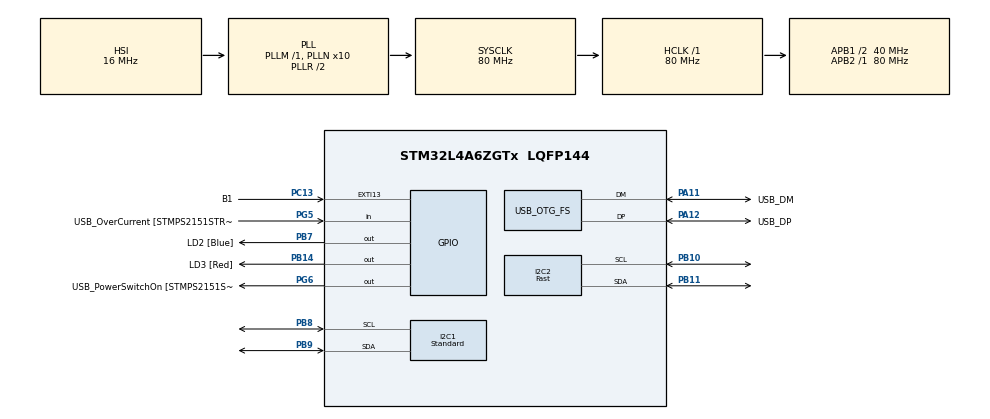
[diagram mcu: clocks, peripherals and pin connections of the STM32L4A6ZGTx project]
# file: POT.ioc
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ADC1.Channel-0\#ChannelRegularConversion=ADC_CHANNEL_TEMPSENSOR
ADC1.NbrOfConversionFlag=1
ADC1.OffsetNumber-0\#ChannelRegularConversion=ADC_OFFSET_NONE
ADC1.Rank-0\#ChannelRegularConversion=1
ADC1.SamplingTime-0\#ChannelRegularConversion=ADC_SAMPLETIME_2CYCLES_5
ADC1.master=1
Dma.I2C1_TX.0.Direction=DMA_MEMORY_TO_PERIPH
Dma.I2C1_TX.0.Instance=DMA1_Channel6
Dma.I2C1_TX.0.MemDataAlignment=DMA_MDATAALIGN_BYTE
Dma.I2C1_TX.0.MemInc=DMA_MINC_ENABLE
Dma.I2C1_TX.0.Mode=DMA_NORMAL
Dma.I2C1_TX.0.PeriphDataAlignment=DMA_PDATAALIGN_BYTE
Dma.I2C1_TX.0.PeriphInc=DMA_PINC_DISABLE
Dma.I2C1_TX.0.Priority=DMA_PRIORITY_LOW
Dma.Request0=I2C1_TX
I2C1.CustomTiming=Enabled
I2C1.I2C_Speed_Mode=I2C_Standard
I2C1.Timing=0x00909BEB
I2C2.I2C_Speed_Mode=I2C_Fast
I2C2.Timing=0x00301347
Mcu.Family=STM32L4
Mcu.Name=STM32L4A6ZGTx
Mcu.Package=LQFP144
NVIC.DMA1_Channel6_IRQn=true\:0\:0\:false\:false\:true\:false\:true
NVIC.I2C1_EV_IRQn=true\:0\:0\:false\:false\:true\:true\:true
NVIC.OTG_FS_IRQn=true\:0\:0\:false\:false\:true\:false\:true
NVIC.PriorityGroup=NVIC_PRIORITYGROUP_4
NVIC.TIM2_IRQn=true\:15\:0\:false\:false\:true\:false\:true
NVIC.TimeBase=TIM2_IRQn
NVIC.TimeBaseIP=TIM2
PA10.GPIO_Label=USB_ID
PA10.Signal=USB_OTG_FS_ID
PA11.GPIO_Label=USB_DM
PA11.Mode=Device_Only
PA11.Signal=USB_OTG_FS_DM
PA12.GPIO_Label=USB_DP
PA12.Mode=Device_Only
PA12.Signal=USB_OTG_FS_DP
PA13\ (JTMS/SWDIO).GPIO_Label=TMS
PA13\ (JTMS/SWDIO).Mode=Trace_Asynchronous_SW
PA13\ (JTMS/SWDIO).Signal=SYS_JTMS-SWDIO
PA14\ (JTCK/SWCLK).GPIO_Label=TCK
PA14\ (JTCK/SWCLK).Mode=Trace_Asynchronous_SW
PA14\ (JTCK/SWCLK).Signal=SYS_JTCK-SWCLK
PA8.GPIO_Label=USB_SOF [TP1]
PA8.Signal=USB_OTG_FS_SOF
PA9.GPIO_Label=USB_VBUS
PA9.Signal=USB_OTG_FS_VBUS
PB10.GPIO_Pu=GPIO_PULLUP
PB10.Mode=I2C
PB10.Signal=I2C2_SCL
PB11.GPIO_Pu=GPIO_PULLUP
PB11.Mode=I2C
PB11.Signal=I2C2_SDA
PB14.GPIO_Label=LD3 [Red]
PB14.Signal=GPIO_Output
PB3\ (JTDO/TRACESWO).GPIO_Label=SWO
PB3\ (JTDO/TRACESWO).Mode=Trace_Asynchronous_SW
PB3\ (JTDO/TRACESWO).Signal=SYS_JTDO-SWO
PB7.GPIO_Label=LD2 [Blue]
PB7.Signal=GPIO_Output
PB8.GPIO_Pu=GPIO_NOPULL
PB8.Mode=I2C
PB8.Signal=I2C1_SCL
PB9.GPIO_Pu=GPIO_NOPULL
PB9.Mode=I2C
PB9.Signal=I2C1_SDA
PC13.GPIO_Label=B1
PC13.Signal=GPXTI13
PC14-OSC32_IN\ (PC14).Mode=LSE-External-Oscillator
PC14-OSC32_IN\ (PC14).Signal=RCC_OSC32_IN
PC15-OSC32_OUT\ (PC15).Mode=LSE-External-Oscillator
PC15-OSC32_OUT\ (PC15).Signal=RCC_OSC32_OUT
PG5.GPIO_Label=USB_OverCurrent [STMPS2151STR_FAULT]
PG5.Signal=GPIO_Input
PG6.GPIO_Label=USB_PowerSwitchOn [STMPS2151STR_EN]
PG6.Signal=GPIO_Output
PG7.GPIO_Label=STLK_RX [STM32F103CBT6_PA3]
PG7.Signal=LPUART1_TX
PG8.GPIO_Label=STLK_TX [STM32F103CBT6_PA2]
PG8.Signal=LPUART1_RX
PH0-OSC_IN\ (PH0).Mode=HSE-External-Oscillator
PH0-OSC_IN\ (PH0).Signal=RCC_OSC_IN
PH1-OSC_OUT\ (PH1).Mode=HSE-External-Oscillator
PH1-OSC_OUT\ (PH1).Signal=RCC_OSC_OUT
ProjectManager.HeapSize=0x200
ProjectManager.StackSize=0x400
ProjectManager.TargetToolchain=STM32CubeIDE
RCC.ADCFreq_Value=64000000
RCC.AHBFreq_Value=80000000
RCC.APB1CLKDivider=RCC_HCLK_DIV2
RCC.APB1Freq_Value=40000000
RCC.APB1TimFreq_Value=80000000
RCC.APB2Freq_Value=80000000
RCC.APB2TimFreq_Value=80000000
RCC.CK48CLockSelection=RCC_USBCLKSOURCE_HSI48
RCC.CortexFreq_Value=80000000
RCC.HCLKFreq_Value=80000000
RCC.HSE_VALUE=8000000
RCC.HSI48_VALUE=48000000
RCC.HSI_VALUE=16000000
RCC.MSI_VALUE=4000000
RCC.PLLN=10
RCC.PLLSourceVirtual=RCC_PLLSOURCE_HSI
RCC.RTCClockSelection=RCC_RTCCLKSOURCE_LSE
RCC.SYSCLKFreq_VALUE=80000000
RCC.SYSCLKSource=RCC_SYSCLKSOURCE_PLLCLK
RCC.USBFreq_Value=48000000
RCC.VCOOutputFreq_Value=160000000
RTC.Date=10
RTC.Hours=19
RTC.Minutes=5
RTC.Month=RTC_MONTH_FEBRUARY
RTC.WeekDay=RTC_WEEKDAY_THURSDAY
USB_DEVICE.CLASS_NAME_FS=CDC
USB_DEVICE.VirtualMode=Cdc
USB_DEVICE.VirtualModeFS=Cdc_FS
USB_OTG_FS.VirtualMode=Device_Only
VP_ADC1_TempSens_Input.Mode=IN-TempSens
VP_RTC_VS_RTC_Activate.Mode=RTC_Enabled
VP_RTC_VS_RTC_Calendar.Mode=RTC_Calendar
VP_SYS_VS_tim2.Mode=TIM2
VP_USB_DEVICE_VS_USB_DEVICE_CDC_FS.Mode=CDC_FS
board=NUCLEO-L4A6ZG

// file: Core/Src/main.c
/* USER CODE BEGIN Header */
/**
  ******************************************************************************
  * @file           : main.c
  * @brief          : Main program body
  ******************************************************************************
  * @attention
  *
  * <h2><center>&copy; Copyright (c) 2021 STMicroelectronics.
  * All rights reserved.</center></h2>
  *
  * This software component is licensed by ST under BSD 3-Clause license,
  * the "License"; You may not use this file except in compliance with the
  * License. You may obtain a copy of the License at:
  *                        opensource.org/licenses/BSD-3-Clause
  *
  ******************************************************************************
  */
/* USER CODE END Header */
#include "main.h"
#include "adc.h"
#include "dma.h"
#include "i2c.h"
#include "rtc.h"
#include "usb_device.h"
#include "gpio.h"

/* USER CODE BEGIN Includes */
#include "ssd1306.h"
#include "font_ascii_5x7.h"
#include "GFX.h"
/* USER CODE END Includes */

/* USER CODE BEGIN PV */
char time[10];
char date[10];

/* USER CODE END PV */

void SystemClock_Config(void);
/* USER CODE BEGIN PFP */
/*xTaskHandle bmp280_read_data;
xTaskHandle OLED_DISP;
xTaskHandle Transmit_Data_USB;*/
/* USER CODE END PFP */

/* USER CODE BEGIN 0 */
void get_time(void)
{
	 RTC_DateTypeDef gDate;
	 RTC_TimeTypeDef gTime;
	/* Get the RTC current Time */
	 HAL_RTC_GetTime(&hrtc, &gTime, RTC_FORMAT_BIN);
	/* Get the RTC current Date */
	 HAL_RTC_GetDate(&hrtc, &gDate, RTC_FORMAT_BIN);
	/* Display time Format: hh:mm:ss */

	 sprintf((char*)time,"%02d:%02d %02d.%02d.%2d",gTime.Hours, gTime.Minutes,gDate.Date, gDate.Month, gDate.Year);
	/* Display date Format: dd-mm-yy */

	 //sprintf((char*)date,"%02d.%02d.%2d",gDate.Date, gDate.Month, gDate.Year);
	  GFX_draw_string(0, 56, time, BLACK, WHITE, 1, 1);
	  //GFX_draw_string(0, 0, date, WHITE, BLACK, 1, 1);
}
void set_time (void)
{
  RTC_TimeTypeDef sTime;
  RTC_DateTypeDef sDate;
  sTime.Hours = 0x19; // set hours
  sTime.Minutes = 0x22; // set minutes
  sTime.Seconds = 0x30; // set seconds
  sTime.DayLightSaving = RTC_DAYLIGHTSAVING_NONE;
  sTime.StoreOperation = RTC_STOREOPERATION_RESET;
  if (HAL_RTC_SetTime(&hrtc, &sTime, RTC_FORMAT_BCD) != HAL_OK)
  {
    Error_Handler();
  }
  sDate.WeekDay = RTC_WEEKDAY_THURSDAY; //
  sDate.Month = RTC_MONTH_FEBRUARY; //
  sDate.Date = 0x10; // date
  sDate.Year = 0x22; // year
  if (HAL_RTC_SetDate(&hrtc, &sDate, RTC_FORMAT_BCD) != HAL_OK)
  {
    Error_Handler();
  }
  HAL_RTCEx_BKUPWrite(&hrtc, RTC_BKP_DR1, 0x32F2); // backup register
}

/* USER CODE END 0 */

int main(void)
{

  /* MCU Configuration--------------------------------------------------------*/

  /* Reset of all peripherals, Initializes the Flash interface and the Systick. */
  HAL_Init();

  /* Configure the system clock */
  SystemClock_Config();

  /* Initialize all configured peripherals */
  MX_GPIO_Init();
  MX_DMA_Init();
  MX_I2C1_Init();
  MX_ADC1_Init();
  MX_I2C2_Init();
  MX_USB_DEVICE_Init();
  MX_RTC_Init();
  /* USER CODE BEGIN 2 */

  /*GFX_draw_string(0, 56, (unsigned char *)"Osmy", WHITE, BLACK, 1, 1);
  GFX_draw_string(0, 48, (unsigned char *)"Siodmy", WHITE, BLACK, 1, 1);
  GFX_draw_string(0, 40, (unsigned char *)"Szosty", WHITE, BLACK, 1, 1);
  GFX_draw_string(0, 32, (unsigned char *)"Piąty", WHITE, BLACK, 1, 1);
  GFX_draw_string(0, 24, (unsigned char *)"Czwarty", WHITE, BLACK, 1, 1);
  GFX_draw_string(0, 16, (unsigned char *)"Trzeci", WHITE, BLACK, 1, 1);
  GFX_draw_string(0, 8, (unsigned char *)"Drugi", WHITE, BLACK, 1, 1);
  GFX_draw_string(0, 0, (unsigned char *)"Pierszy", WHITE, BLACK, 1, 1);*/
  /*SSD1306_init();
  SSD1306_display_repaint();
  BMP280_init();
  set_time();*/
  set_time();
  SSD1306_init();
  SSD1306_display_repaint();
  BMP280_init();
  /* USER CODE END 2 */

  /* Infinite loop */
  /* USER CODE BEGIN WHILE */
  while (1)
  {
	  get_time();
	  BMP280_read();
	  SSD1306_display_repaint();
	  HAL_Delay(1000);
    /* USER CODE END WHILE */

  }
}

void SystemClock_Config(void)
{
  RCC_OscInitTypeDef RCC_OscInitStruct = {0};
  RCC_ClkInitTypeDef RCC_ClkInitStruct = {0};

  /** Configure the main internal regulator output voltage
  */
  if (HAL_PWREx_ControlVoltageScaling(PWR_REGULATOR_VOLTAGE_SCALE1) != HAL_OK)
  {
    Error_Handler();
  }
  /** Configure LSE Drive Capability
  */
  HAL_PWR_EnableBkUpAccess();
  __HAL_RCC_LSEDRIVE_CONFIG(RCC_LSEDRIVE_LOW);
  /** Initializes the RCC Oscillators according to the specified parameters
  * in the RCC_OscInitTypeDef structure.
  */
  RCC_OscInitStruct.OscillatorType = RCC_OSCILLATORTYPE_HSI48|RCC_OSCILLATORTYPE_HSI
                              |RCC_OSCILLATORTYPE_LSE;
  RCC_OscInitStruct.LSEState = RCC_LSE_ON;
  RCC_OscInitStruct.HSIState = RCC_HSI_ON;
  RCC_OscInitStruct.HSI48State = RCC_HSI48_ON;
  RCC_OscInitStruct.HSICalibrationValue = RCC_HSICALIBRATION_DEFAULT;
  RCC_OscInitStruct.PLL.PLLState = RCC_PLL_ON;
  RCC_OscInitStruct.PLL.PLLSource = RCC_PLLSOURCE_HSI;
  RCC_OscInitStruct.PLL.PLLM = 1;
  RCC_OscInitStruct.PLL.PLLN = 10;
  RCC_OscInitStruct.PLL.PLLP = RCC_PLLP_DIV2;
  RCC_OscInitStruct.PLL.PLLQ = RCC_PLLQ_DIV2;
  RCC_OscInitStruct.PLL.PLLR = RCC_PLLR_DIV2;
  if (HAL_RCC_OscConfig(&RCC_OscInitStruct) != HAL_OK)
  {
    Error_Handler();
  }
  /** Initializes the CPU, AHB and APB buses clocks
  */
  RCC_ClkInitStruct.ClockType = RCC_CLOCKTYPE_HCLK|RCC_CLOCKTYPE_SYSCLK
                              |RCC_CLOCKTYPE_PCLK1|RCC_CLOCKTYPE_PCLK2;
  RCC_ClkInitStruct.SYSCLKSource = RCC_SYSCLKSOURCE_PLLCLK;
  RCC_ClkInitStruct.AHBCLKDivider = RCC_SYSCLK_DIV1;
  RCC_ClkInitStruct.APB1CLKDivider = RCC_HCLK_DIV2;
  RCC_ClkInitStruct.APB2CLKDivider = RCC_HCLK_DIV1;

  if (HAL_RCC_ClockConfig(&RCC_ClkInitStruct, FLASH_LATENCY_4) != HAL_OK)
  {
    Error_Handler();
  }
}

void HAL_TIM_PeriodElapsedCallback(TIM_HandleTypeDef *htim)
{
  if (htim->Instance == TIM2) {
    HAL_IncTick();
  }
}

void Error_Handler(void)
{
  __disable_irq();
  while (1)
  {
  }
}
